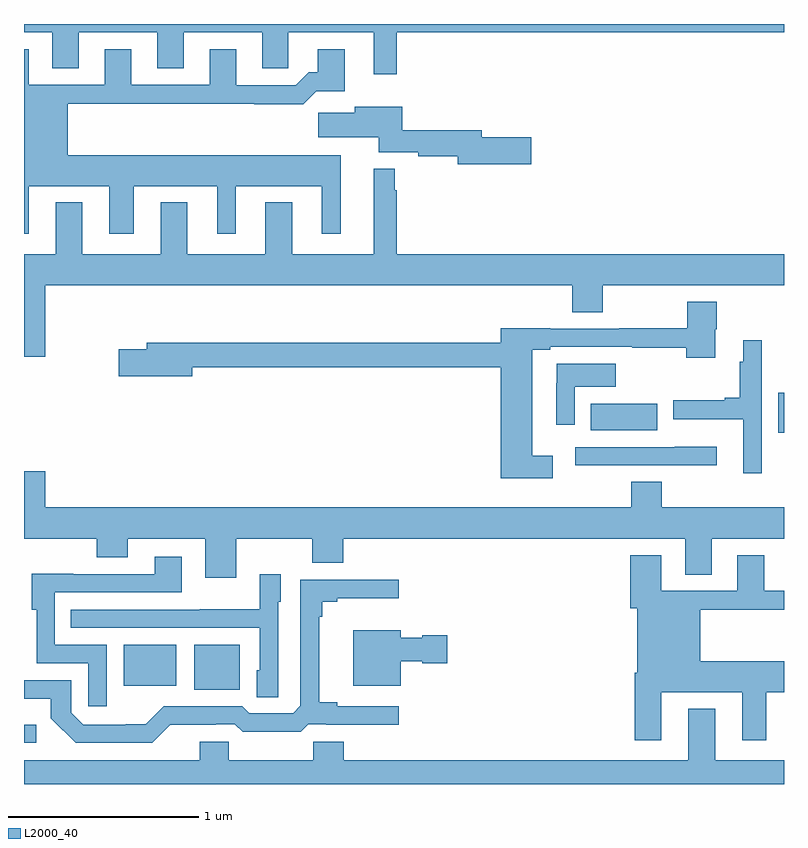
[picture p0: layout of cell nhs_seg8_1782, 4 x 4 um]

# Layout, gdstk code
import gdstk
lib = gdstk.Library(unit=1e-6, precision=1e-09)
def R(c, l, rs):  # rectangles x0, y0, x1, y1
    for r in rs: c.add(gdstk.rectangle(r[:2], r[2:], *l))
def P(c, l, *ps):  # polygons
    for p in ps: c.add(gdstk.Polygon(p, *l))
L2000_40 = (2000, 40)

nhs_seg8_1782 = lib.new_cell('nhs_seg8_1782')
R(nhs_seg8_1782, L2000_40, [(225,1090.116,225.064,1090.213), (225.896,1090.397,226.135,1090.633), (225.524,1090.418,225.802,1090.633), (228.971,1091.75,229,1091.959), (227.983,1091.762,228.333,1091.902)])
P(nhs_seg8_1782, L2000_40, [(225,1093.856),(225.149,1093.856),(225.149,1093.666),(225.289,1093.666),(225.289,1093.856),(225.701,1093.856),(225.701,1093.666),(225.841,1093.666),(225.841,1093.856),(226.253,1093.856),(226.253,1093.666),(226.392,1093.666),(226.392,1093.856),(226.841,1093.856),(226.841,1093.635),(226.963,1093.635),(226.963,1093.856),(229,1093.856),(229,1093.9),(225,1093.9)],
  [(225.025,1093.046),(225.449,1093.046),(225.449,1092.795),(225.577,1092.795),(225.577,1093.046),(226.016,1093.046),(226.016,1092.795),(226.114,1092.795),(226.114,1093.046),(226.568,1093.046),(226.568,1092.795),(226.666,1092.795),(226.666,1093.21),(225.229,1093.21),(225.229,1093.48),(226.213,1093.48),(226.213,1093.478),(226.469,1093.478),(226.538,1093.547),(226.687,1093.547),(226.687,1093.768),(226.547,1093.768),(226.547,1093.645),(226.498,1093.645),(226.431,1093.578),(226.117,1093.578),(226.117,1093.768),(225.977,1093.768),(225.977,1093.581),(225.565,1093.581),(225.565,1093.768),(225.425,1093.768),(225.425,1093.581),(225.025,1093.581),(225.025,1093.768),(225,1093.768),(225,1092.795),(225.025,1092.795)],
  [(227.671,1093.304),(227.41,1093.304),(227.41,1093.34),(226.991,1093.34),(226.991,1093.465),(226.742,1093.465),(226.742,1093.433),(226.548,1093.433),(226.548,1093.304),(226.868,1093.304),(226.868,1093.224),(227.074,1093.224),(227.074,1093.204),(227.282,1093.204),(227.282,1093.162),(227.671,1093.162)],
  [(225.112,1092.524),(227.885,1092.524),(227.885,1092.382),(228.045,1092.382),(228.045,1092.524),(229,1092.524),(229,1092.688),(226.963,1092.688),(226.963,1093.025),(226.952,1093.025),(226.952,1093.138),(226.841,1093.138),(226.841,1092.688),(226.411,1092.688),(226.411,1092.961),(226.271,1092.961),(226.271,1092.688),(225.859,1092.688),(225.859,1092.961),(225.719,1092.961),(225.719,1092.688),(225.307,1092.688),(225.307,1092.961),(225.167,1092.961),(225.167,1092.688),(225,1092.688),(225,1092.15),(225.112,1092.15)],
  [(227.782,1091.627),(227.674,1091.627),(227.674,1092.185),(227.77,1092.185),(227.77,1092.201),(228.202,1092.201),(228.202,1092.196),(228.485,1092.196),(228.485,1092.144),(228.637,1092.144),(228.637,1092.294),(228.645,1092.294),(228.645,1092.439),(228.49,1092.439),(228.49,1092.3),(228.133,1092.3),(228.133,1092.297),(227.77,1092.297),(227.77,1092.3),(227.51,1092.3),(227.51,1092.223),(225.647,1092.223),(225.647,1092.189),(225.498,1092.189),(225.498,1092.047),(225.886,1092.047),(225.886,1092.094),(227.51,1092.094),(227.51,1091.51),(227.782,1091.51)],
  [(228.882,1092.013),(228.883,1092.013),(228.883,1092.235),(228.785,1092.235),(228.785,1092.122),(228.766,1092.122),(228.766,1091.932),(228.689,1091.932),(228.689,1091.919),(228.418,1091.919),(228.418,1091.819),(228.785,1091.819),(228.785,1091.535),(228.882,1091.535)],
  [(227.898,1091.99),(228.115,1091.99),(228.115,1092.111),(227.803,1092.111),(227.803,1092.008),(227.802,1092.008),(227.802,1091.79),(227.898,1091.79)],
  [(228.646,1091.674),(228.426,1091.674),(228.426,1091.673),(227.901,1091.673),(227.901,1091.577),(228.646,1091.577)],
  [(226.117,1091.192),(226.517,1091.192),(226.517,1091.064),(226.681,1091.064),(226.681,1091.192),(228.479,1091.192),(228.479,1091.002),(228.619,1091.002),(228.619,1091.192),(229,1091.192),(229,1091.356),(228.356,1091.356),(228.356,1091.492),(228.196,1091.492),(228.196,1091.356),(225.112,1091.356),(225.112,1091.545),(225,1091.545),(225,1091.192),(225.383,1091.192),(225.383,1091.093),(225.547,1091.093),(225.547,1091.192),(225.953,1091.192),(225.953,1090.986),(226.117,1090.986)],
  [(228.355,1090.382),(228.779,1090.382),(228.779,1090.131),(228.907,1090.131),(228.907,1090.382),(229,1090.382),(229,1090.546),(228.559,1090.546),(228.559,1090.816),(229,1090.816),(229,1090.917),(228.895,1090.917),(228.895,1091.104),(228.755,1091.104),(228.755,1090.917),(228.355,1090.917),(228.355,1091.104),(228.191,1091.104),(228.191,1090.824),(228.227,1090.824),(228.227,1090.486),(228.215,1090.486),(228.215,1090.131),(228.355,1090.131)],
  [(225.435,1090.632),(225.162,1090.632),(225.162,1090.908),(225.829,1090.908),(225.829,1091.095),(225.689,1091.095),(225.689,1091.004),(225.259,1091.004),(225.259,1091.006),(225.041,1091.006),(225.041,1090.818),(225.066,1090.818),(225.066,1090.536),(225.339,1090.536),(225.339,1090.308),(225.435,1090.308)],
  [(226.338,1090.86),(226.351,1090.86),(226.351,1091.005),(226.242,1091.005),(226.242,1090.819),(225.925,1090.819),(225.925,1090.818),(225.247,1090.818),(225.247,1090.722),(226.242,1090.722),(226.242,1090.5),(226.226,1090.5),(226.226,1090.357),(226.338,1090.357)],
  [(225.77,1090.211),(226.01,1090.211),(226.01,1090.215),(226.11,1090.215),(226.15,1090.176),(226.457,1090.176),(226.497,1090.215),(226.591,1090.215),(226.591,1090.211),(226.972,1090.211),(226.972,1090.308),(226.648,1090.308),(226.648,1090.331),(226.553,1090.331),(226.553,1090.781),(226.571,1090.781),(226.571,1090.858),(226.648,1090.858),(226.648,1090.877),(226.972,1090.877),(226.972,1090.974),(226.455,1090.974),(226.455,1090.311),(226.416,1090.272),(226.185,1090.272),(226.149,1090.308),(225.735,1090.308),(225.641,1090.214),(225.536,1090.214),(225.536,1090.212),(225.312,1090.212),(225.249,1090.275),(225.249,1090.446),(225,1090.446),(225,1090.349),(225.142,1090.349),(225.142,1090.247),(225.272,1090.116),(225.675,1090.116)],
  [(226.984,1090.547),(227.097,1090.547),(227.097,1090.535),(227.227,1090.535),(227.227,1090.682),(227.097,1090.682),(227.097,1090.669),(226.984,1090.669),(226.984,1090.708),(226.733,1090.708),(226.733,1090.418),(226.984,1090.418)],
  [(229,1090.024),(228.637,1090.024),(228.637,1090.297),(228.497,1090.297),(228.497,1090.024),(226.682,1090.024),(226.682,1090.122),(226.522,1090.122),(226.522,1090.024),(226.077,1090.024),(226.077,1090.122),(225.926,1090.122),(225.926,1090.024),(225,1090.024),(225,1089.9),(229,1089.9)])

lib.write_gds('nhs_seg8_1782.gds')
